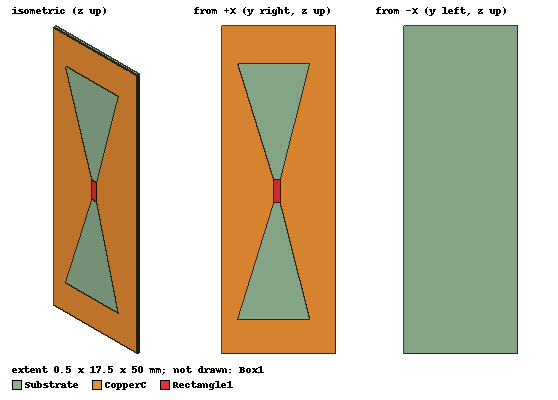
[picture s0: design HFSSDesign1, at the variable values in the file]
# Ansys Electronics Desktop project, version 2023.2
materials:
  vacuum: permittivity=1
  copper: permeability=0.999991 conductivity=58000000
  Rogers RO3203 (tm): permittivity=3.02 dielectric_loss_tangent=0.0016

design HFSSDesign1 (HFSS, HFSS Terminal Network, model units mm)
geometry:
  Substrate [Rogers RO3203 (tm)] = box(corner=(0mm, 0mm, 0mm), size=(-0.5mm, 17.5mm, 50mm))
  CopperC = rectangle(corner=(0mm, 0mm, 50mm), y_size=17.5mm, z_size=-50mm)
  Polyline1 = polyline(x=0mm, yz in mm: (2.5, 5.25) (13.5, 5.25) (9, 23) (8, 23) (2.5, 5.25), closed, covered)
  Polyline1_1 = Polyline1.duplicate_mirror(point=(0mm, 8mm, 24.75mm), normal=(0mm, 0mm, 1mm))
  CopperC.subtract(Polyline1, Polyline1_1)
  Rectangle1 = rectangle(corner=(0mm, 8mm, 26.5mm), y_size=1mm, z_size=-3.5mm)
  Box1 [vacuum] = box(corner=(-25.5mm, -25mm, -25mm), size=(50mm, 62.5mm, 100mm))
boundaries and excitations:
  FiniteCond1: Finite Conductivity Objects=CopperC UseMaterial Material=copper IsInternal
  Rad1: Radiation Objects=Box1
  1: Lumped Port Objects=Rectangle1 LumpedPortType=Modal Modes{Mode1{IntLine{(0, 8.5, 23) -> (0, 8.5, 26.5)} CharImp=Zpi}} Impedance=50ohm
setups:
  Setup1: HfssDriven Frequency=6GHz MaxDeltaS=0.02 MaximumPasses=6 MinimumPasses=1 MinimumConvergedPasses=1 PercentRefinement=30 BasisOrder=1 PortAccuracy=2 DrivenSolverType="Direct Solver"
    sweep Sweep: 3GHz to 9GHz, 401 points; Type=Fast SaveFields
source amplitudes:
  1:1: 1V 0deg
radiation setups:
  Infinite Sphere1: Infinite Sphere Theta=0deg..180deg step 2deg Phi=-180deg..180deg step 2deg
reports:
  S Parameter Plot 1: dB(S(1,1)) vs Freq on Setup1 : Sweep; markers MX1 at x=8.0000663e+09
  Gain Plot 1: dB(GainPhi), dB(GainTheta) vs Phi, Theta on Setup1 : Sweep, Infinite Sphere1 [Freq=6GHz]
  Directivity Plot 1: dB(DirPhi), dB(DirTheta) vs Theta, Phi on Setup1 : Sweep, Infinite Sphere1 [Freq=6GHz]
